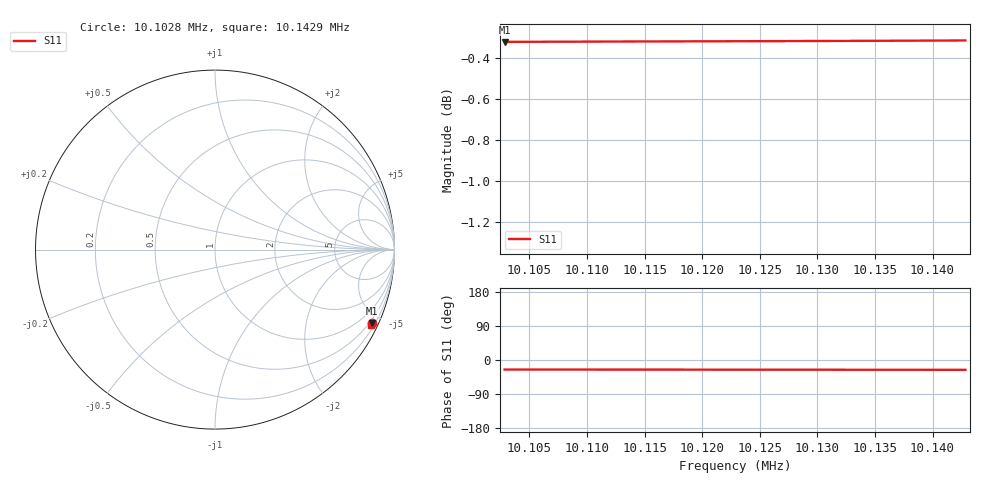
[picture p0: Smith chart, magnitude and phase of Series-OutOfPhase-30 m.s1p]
# HZ S RI R 50
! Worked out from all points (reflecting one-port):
!   5 points, 10.1028 MHz to 10.1429 MHz, reference 50 ohm
!   lowest |S11| = -0.3 dB at 10.1028 MHz (marker M1), VSWR 53.92, Z = 19.5 - j223 ohm
!   phase of S11 starts at -25 deg and turns -1 deg over the sweep
1.010284e7  0.8725 -0.409
1.011284e7  0.8712 -0.4121
1.012285e7  0.8699 -0.4153
1.013285e7  0.8685 -0.4185
1.014286e7  0.8673 -0.4215
